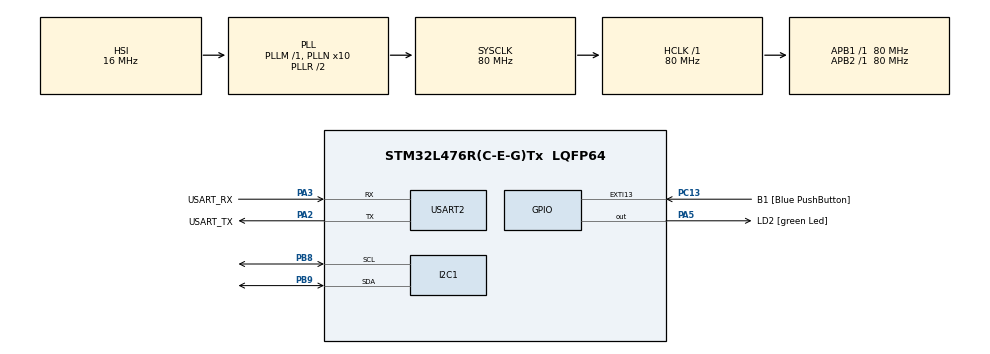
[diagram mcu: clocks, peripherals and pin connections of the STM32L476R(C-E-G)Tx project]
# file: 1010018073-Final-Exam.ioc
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I2C1.Timing=0x10909CEC
Mcu.Family=STM32L4
Mcu.Name=STM32L476R(C-E-G)Tx
Mcu.Package=LQFP64
NVIC.I2C1_ER_IRQn=true\:0\:0\:false\:false\:true\:true\:true\:true
NVIC.I2C1_EV_IRQn=true\:0\:0\:false\:false\:true\:true\:true\:true
NVIC.PriorityGroup=NVIC_PRIORITYGROUP_4
NVIC.USART2_IRQn=true\:0\:0\:false\:false\:true\:true\:true\:true
PA13\ (JTMS-SWDIO).GPIO_Label=TMS
PA13\ (JTMS-SWDIO).Mode=Serial_Wire
PA13\ (JTMS-SWDIO).Signal=SYS_JTMS-SWDIO
PA14\ (JTCK-SWCLK).GPIO_Label=TCK
PA14\ (JTCK-SWCLK).Mode=Serial_Wire
PA14\ (JTCK-SWCLK).Signal=SYS_JTCK-SWCLK
PA2.GPIO_Label=USART_TX
PA2.GPIO_Mode=GPIO_MODE_AF_PP
PA2.GPIO_PuPd=GPIO_NOPULL
PA2.GPIO_Speed=GPIO_SPEED_FREQ_VERY_HIGH
PA2.Mode=Asynchronous
PA2.Signal=USART2_TX
PA3.GPIO_Label=USART_RX
PA3.GPIO_Mode=GPIO_MODE_AF_PP
PA3.GPIO_PuPd=GPIO_NOPULL
PA3.GPIO_Speed=GPIO_SPEED_FREQ_VERY_HIGH
PA3.Mode=Asynchronous
PA3.Signal=USART2_RX
PA5.GPIO_Label=LD2 [green Led]
PA5.GPIO_ModeDefaultOutputPP=GPIO_MODE_OUTPUT_PP
PA5.GPIO_PuPd=GPIO_NOPULL
PA5.GPIO_Speed=GPIO_SPEED_FREQ_LOW
PA5.Signal=GPIO_Output
PB3\ (JTDO-TRACESWO).GPIO_Label=SWO
PB3\ (JTDO-TRACESWO).Signal=SYS_JTDO-SWO
PB8.Mode=I2C
PB8.Signal=I2C1_SCL
PB9.Mode=I2C
PB9.Signal=I2C1_SDA
PC13.GPIO_Label=B1 [Blue PushButton]
PC13.GPIO_ModeDefaultEXTI=GPIO_MODE_IT_FALLING
PC13.GPIO_PuPd=GPIO_NOPULL
PC13.Signal=GPXTI13
PC14-OSC32_IN\ (PC14).Mode=LSE-External-Oscillator
PC14-OSC32_IN\ (PC14).Signal=RCC_OSC32_IN
PC15-OSC32_OUT\ (PC15).Mode=LSE-External-Oscillator
PC15-OSC32_OUT\ (PC15).Signal=RCC_OSC32_OUT
PH0-OSC_IN\ (PH0).Signal=RCC_OSC_IN
PH1-OSC_OUT\ (PH1).Signal=RCC_OSC_OUT
ProjectManager.HeapSize=0x200
ProjectManager.StackSize=0x400
ProjectManager.TargetToolchain=STM32CubeIDE
RCC.ADCFreq_Value=64000000
RCC.AHBFreq_Value=80000000
RCC.APB1Freq_Value=80000000
RCC.APB1TimFreq_Value=80000000
RCC.APB2Freq_Value=80000000
RCC.APB2TimFreq_Value=80000000
RCC.CortexFreq_Value=80000000
RCC.HCLKFreq_Value=80000000
RCC.HSE_VALUE=8000000
RCC.HSI_VALUE=16000000
RCC.MSI_VALUE=4000000
RCC.PLLN=10
RCC.PLLSourceVirtual=RCC_PLLSOURCE_HSI
RCC.PREFETCH_ENABLE=1
RCC.SYSCLKFreq_VALUE=80000000
RCC.SYSCLKSource=RCC_SYSCLKSOURCE_PLLCLK
RCC.USBFreq_Value=64000000
RCC.VCOOutputFreq_Value=160000000
USART2.VirtualMode-Asynchronous=VM_ASYNC
board=NUCLEO-L476RG

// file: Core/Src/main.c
/* USER CODE BEGIN Header */
/**
  ******************************************************************************
  * @file           : main.c
  * @brief          : Main program body
  ******************************************************************************
  * @attention
  *
  * Copyright (c) 2023 STMicroelectronics.
  * All rights reserved.
  *
  * This software is licensed under terms that can be found in the LICENSE file
  * in the root directory of this software component.
  * If no LICENSE file comes with this software, it is provided AS-IS.
  *
  ******************************************************************************
  */
/* USER CODE END Header */
#include "main.h"
#include <string.h>
#include <stdio.h>
#include "ring_buffer.h"
#include "ssd1306.h"
#include "ssd1306_fonts.h"

I2C_HandleTypeDef hi2c1;

UART_HandleTypeDef huart2;

/* USER CODE BEGIN PV */
ring_buffer_t ring_buffer_uart_rx;
uint8_t fallos= 0;
uint8_t rx_buffer[10];
uint8_t rx_data;

/* USER CODE END PV */

void SystemClock_Config(void);
static void MX_GPIO_Init(void);
static void MX_USART2_UART_Init(void);
static void MX_I2C1_Init(void);

/* USER CODE BEGIN 0 */

int _write(int file, char *ptr, int len)
{
  HAL_UART_Transmit(&huart2,(uint8_t *)ptr, len, HAL_MAX_DELAY);
  return len;
}
/**
  * @brief  Rx Transfer completed callback.
  * @param  huart UART handle.
  * @retval None
  */
void HAL_UART_RxCpltCallback(UART_HandleTypeDef *huart)
{
	ring_buffer_put(&ring_buffer_uart_rx, rx_data);
	HAL_UART_Receive_IT(&huart2, &rx_data, 1);
}

void validacion(void)
{

	printf("Validating\r\n");
	uint8_t student_code[10] = "1010018073"; //guarda el codigo/cedula del estudiante
	uint8_t sequence[10];

	for (uint8_t idx = 0; idx < 10; idx++) {
	  ring_buffer_get(&ring_buffer_uart_rx, &sequence[idx]);
	}

	if (memcmp(student_code, sequence, 10) == 0) { //compara el codigo con el que se ingresa
	  ssd1306_Fill(Black);
	  ssd1306_SetCursor(20, 20);
	  ssd1306_WriteString("Success<3", Font_11x18, White); //si está bien ingresado aparece "success" en la pantalla durante 10 segundos
	  ssd1306_UpdateScreen();
	  HAL_Delay(10000);

	} else {
	  fallos += 1;
	  if (fallos == 3){ //si falla 3 veces aparece"bloqued" en la pantalla durante 30 segundos
		  ssd1306_Fill(Black);
		  ssd1306_SetCursor(20, 20);
		  ssd1306_WriteString("Blocked:/", Font_11x18, White);
		  ssd1306_UpdateScreen();
		  HAL_Delay(30000);
		  fallos = 0;

	  }	  else{ //si está mal ingresado aparece "failes" en la pantalla durante 10 segundos
		  ssd1306_Fill(Black);
		  ssd1306_SetCursor(20, 20);
		  ssd1306_WriteString("Failed:(", Font_11x18, White);
		  ssd1306_UpdateScreen();
		  HAL_Delay(10000);
	  }
	}
}

/* USER CODE END 0 */

int main(void)
{

  /* MCU Configuration--------------------------------------------------------*/

  /* Reset of all peripherals, Initializes the Flash interface and the Systick. */
  HAL_Init();

  /* Configure the system clock */
  SystemClock_Config();

  /* Initialize all configured peripherals */

   MX_GPIO_Init();
   MX_USART2_UART_Init();
   MX_I2C1_Init();
   /* USER CODE BEGIN 2 */
   ring_buffer_init(&ring_buffer_uart_rx, rx_buffer, 16);
   HAL_UART_Receive_IT(&huart2, &rx_data, 1);

   ssd1306_Init();
   ssd1306_Fill(Black);
   ssd1306_SetCursor(6, 6);
   ssd1306_WriteString("Waiting", Font_16x26, White);
   ssd1306_UpdateScreen();

  /* USER CODE END 2 */

  /* Infinite loop */
  /* USER CODE BEGIN WHILE */
  while (1)
  {
	 ssd1306_Fill(Black);
	 ssd1306_SetCursor(20, 20);
	 ssd1306_WriteString("Waiting...", Font_11x18, White);
	 ssd1306_UpdateScreen();
	 uint16_t size = ring_buffer_size(&ring_buffer_uart_rx);

	 if (size != 0) {
		 validacion();
	 }
	 HAL_Delay(1000);

    /* USER CODE END WHILE */

  }
}

void SystemClock_Config(void)
{
  RCC_OscInitTypeDef RCC_OscInitStruct = {0};
  RCC_ClkInitTypeDef RCC_ClkInitStruct = {0};

  /** Configure the main internal regulator output voltage
  */
  if (HAL_PWREx_ControlVoltageScaling(PWR_REGULATOR_VOLTAGE_SCALE1) != HAL_OK)
  {
    Error_Handler();
  }

  /** Initializes the RCC Oscillators according to the specified parameters
  * in the RCC_OscInitTypeDef structure.
  */
  RCC_OscInitStruct.OscillatorType = RCC_OSCILLATORTYPE_HSI;
  RCC_OscInitStruct.HSIState = RCC_HSI_ON;
  RCC_OscInitStruct.HSICalibrationValue = RCC_HSICALIBRATION_DEFAULT;
  RCC_OscInitStruct.PLL.PLLState = RCC_PLL_ON;
  RCC_OscInitStruct.PLL.PLLSource = RCC_PLLSOURCE_HSI;
  RCC_OscInitStruct.PLL.PLLM = 1;
  RCC_OscInitStruct.PLL.PLLN = 10;
  RCC_OscInitStruct.PLL.PLLP = RCC_PLLP_DIV7;
  RCC_OscInitStruct.PLL.PLLQ = RCC_PLLQ_DIV2;
  RCC_OscInitStruct.PLL.PLLR = RCC_PLLR_DIV2;
  if (HAL_RCC_OscConfig(&RCC_OscInitStruct) != HAL_OK)
  {
    Error_Handler();
  }

  /** Initializes the CPU, AHB and APB buses clocks
  */
  RCC_ClkInitStruct.ClockType = RCC_CLOCKTYPE_HCLK|RCC_CLOCKTYPE_SYSCLK
                              |RCC_CLOCKTYPE_PCLK1|RCC_CLOCKTYPE_PCLK2;
  RCC_ClkInitStruct.SYSCLKSource = RCC_SYSCLKSOURCE_PLLCLK;
  RCC_ClkInitStruct.AHBCLKDivider = RCC_SYSCLK_DIV1;
  RCC_ClkInitStruct.APB1CLKDivider = RCC_HCLK_DIV1;
  RCC_ClkInitStruct.APB2CLKDivider = RCC_HCLK_DIV1;

  if (HAL_RCC_ClockConfig(&RCC_ClkInitStruct, FLASH_LATENCY_4) != HAL_OK)
  {
    Error_Handler();
  }
}

static void MX_I2C1_Init(void)
{

  hi2c1.Instance = I2C1;
  hi2c1.Init.Timing = 0x10909CEC;
  hi2c1.Init.OwnAddress1 = 0;
  hi2c1.Init.AddressingMode = I2C_ADDRESSINGMODE_7BIT;
  hi2c1.Init.DualAddressMode = I2C_DUALADDRESS_DISABLE;
  hi2c1.Init.OwnAddress2 = 0;
  hi2c1.Init.OwnAddress2Masks = I2C_OA2_NOMASK;
  hi2c1.Init.GeneralCallMode = I2C_GENERALCALL_DISABLE;
  hi2c1.Init.NoStretchMode = I2C_NOSTRETCH_DISABLE;
  if (HAL_I2C_Init(&hi2c1) != HAL_OK)
  {
    Error_Handler();
  }

  /** Configure Analogue filter
  */
  if (HAL_I2CEx_ConfigAnalogFilter(&hi2c1, I2C_ANALOGFILTER_ENABLE) != HAL_OK)
  {
    Error_Handler();
  }

  /** Configure Digital filter
  */
  if (HAL_I2CEx_ConfigDigitalFilter(&hi2c1, 0) != HAL_OK)
  {
    Error_Handler();
  }

}

static void MX_USART2_UART_Init(void)
{

  huart2.Instance = USART2;
  huart2.Init.BaudRate = 115200;
  huart2.Init.WordLength = UART_WORDLENGTH_8B;
  huart2.Init.StopBits = UART_STOPBITS_1;
  huart2.Init.Parity = UART_PARITY_NONE;
  huart2.Init.Mode = UART_MODE_TX_RX;
  huart2.Init.HwFlowCtl = UART_HWCONTROL_NONE;
  huart2.Init.OverSampling = UART_OVERSAMPLING_16;
  huart2.Init.OneBitSampling = UART_ONE_BIT_SAMPLE_DISABLE;
  huart2.AdvancedInit.AdvFeatureInit = UART_ADVFEATURE_NO_INIT;
  if (HAL_UART_Init(&huart2) != HAL_OK)
  {
    Error_Handler();
  }

}

static void MX_GPIO_Init(void)
{
  GPIO_InitTypeDef GPIO_InitStruct = {0};

  /* GPIO Ports Clock Enable */
  __HAL_RCC_GPIOC_CLK_ENABLE();
  __HAL_RCC_GPIOH_CLK_ENABLE();
  __HAL_RCC_GPIOA_CLK_ENABLE();
  __HAL_RCC_GPIOB_CLK_ENABLE();

  /*Configure GPIO pin Output Level */
  HAL_GPIO_WritePin(LD2_GPIO_Port, LD2_Pin, GPIO_PIN_RESET);

  /*Configure GPIO pin : B1_Pin */
  GPIO_InitStruct.Pin = B1_Pin;
  GPIO_InitStruct.Mode = GPIO_MODE_IT_FALLING;
  GPIO_InitStruct.Pull = GPIO_NOPULL;
  HAL_GPIO_Init(B1_GPIO_Port, &GPIO_InitStruct);

  /*Configure GPIO pin : LD2_Pin */
  GPIO_InitStruct.Pin = LD2_Pin;
  GPIO_InitStruct.Mode = GPIO_MODE_OUTPUT_PP;
  GPIO_InitStruct.Pull = GPIO_NOPULL;
  GPIO_InitStruct.Speed = GPIO_SPEED_FREQ_LOW;
  HAL_GPIO_Init(LD2_GPIO_Port, &GPIO_InitStruct);

}

void Error_Handler(void)
{
  __disable_irq();
  while (1)
  {
  }
}
